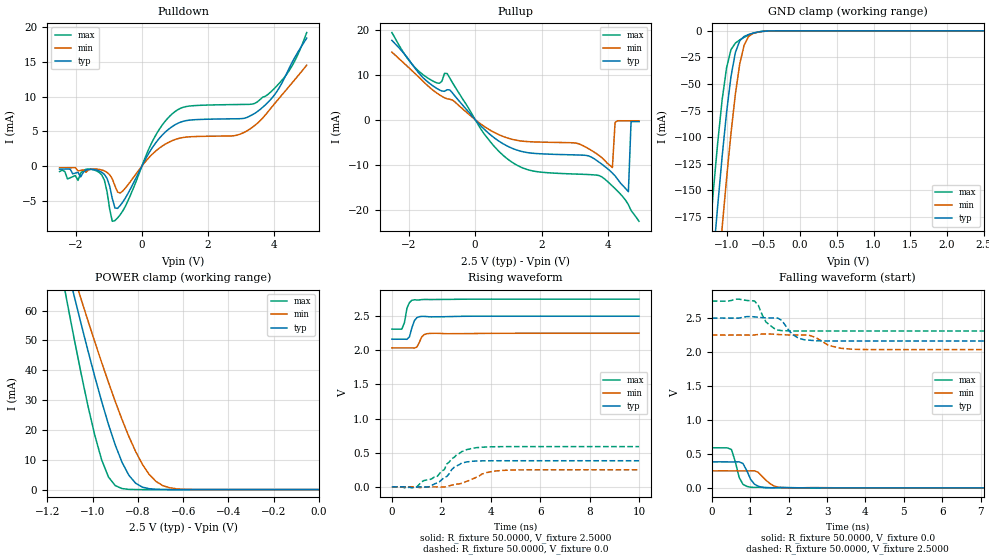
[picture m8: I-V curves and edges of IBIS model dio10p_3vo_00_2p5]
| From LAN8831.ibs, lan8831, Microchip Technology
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|   Model dio10p_3vo_00_2p5
[Model]  dio10p_3vo_00_2p5
Model_type I/O
Polarity   Non-Inverting
Enable   Active-Low
Vinl =   0.0V
Vinh =   2.5000V
Vmeas =  1.2500V
Vref =   0.0V
C_comp   5.0000pF   5.0000pF   5.0000pF
[Temperature Range]   42.0000   0.1250k   -40.0000
[Voltage Range]   2.5000V   2.2500V   2.7500V
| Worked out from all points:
|   slope of the pulldown table from 0 to 0.375 V, typ, clamps not added: 123 ohm
|   slope of the pullup table from 0 to 0.375 V, typ, clamps not added: 132 ohm
|   GND clamp passes 1 mA (typ) near -0.56 V on its own axis
|   POWER clamp passes 1 mA (typ) near -0.78 V on its own axis
|   rising waveform, R_fixture 50.0000, V_fixture 2.5000: 20-80 % time 173ps typ, 179ps min, 166ps max; typ from 2.16 V to 2.5 V
|   rising waveform, R_fixture 50.0000, V_fixture 0.0: 20-80 % time 689ps typ, 957ps min, 1.02ns max; typ from 0 V to 0.383 V
|   falling waveform, R_fixture 50.0000, V_fixture 0.0: 20-80 % time 218ps typ, 295ps min, 183ps max; typ from 0.382 V to 0 V
|   falling waveform, R_fixture 50.0000, V_fixture 2.5000: 20-80 % time 319ps typ, 466ps min, 280ps max; typ from 2.5 V to 2.16 V
[Pulldown]
|Voltage   I(typ)   I(min)   I(max)
-2.5V     -453uA     -258.4uA   -806.2uA
-1.94V    -914.9uA   -705.3uA   -2.077mA
-1.3V     -713.5uA   -488.5uA   -915.1uA
-1.06V    -1.782mA   -930.1uA   -3.678mA
-900mV    -4.679mA   -1.859mA   -7.967mA
-820mV    -6.044mA   -2.85mA    -7.862mA
-660mV    -5.699mA   -3.899mA   -7.019mA
300mV     2.532mA    1.635mA    3.377mA
860mV     5.483mA    3.524mA    7.251mA
3.42V     7.562mA    5.819mA    9.008mA
4.38V     13.21mA    10.97mA    13.13mA
5V        18.41mA    14.51mA    19.21mA
[Pullup]
|Voltage   I(typ)   I(min)   I(max)
-2.5V     17.62mA    15.01mA    19.36mA
-1.56V    9.291mA    8.499mA    9.954mA
-1.08V    6.629mA    5.56mA     8.081mA
-840mV    6.65mA     4.62mA     10.25mA
280mV     -2.192mA   -1.557mA   -3.264mA
1V        -6.011mA   -4.15mA    -8.915mA
3.08V     -7.862mA   -5.311mA   -12.12mA
4.12V     -11.88mA   -10.66mA   -14.77mA
4.2V      -12.51mA   -626.1uA   -15.35mA
4.6V      -16.02mA   -257uA     -18.9mA
4.68V     -446uA     -258.1uA   -20.2mA
4.92V     -452.6uA   -261.2uA   -22.61mA
[GND_clamp]
|Voltage   I(typ)   I(min)   I(max)
-2.5V     -1.409A    -1.474A    -1.354A
-1.24V    -262.8mA   -333.8mA   -200mA
-1.18V    -212.5mA   -282.9mA   -150.8mA
-1.12V    -164mA     -233.2mA   -104.8mA
-1.06V    -118.1mA   -184.9mA   -64.73mA
-1V       -76.75mA   -139mA     -34.79mA
-940mV    -43.03mA   -96.44mA   -17.73mA
-880mV    -20.4mA    -59.4mA    -11.51mA
-760mV    -5.247mA   -13.29mA   -6.079mA
-640mV    -2.178mA   -2.509mA   -2.394mA
-460mV    -236uA     -335.7uA   -131.7uA
2.5V      692.1pA    14.9nA     505.2pA
[POWER_clamp]
|Voltage   I(typ)   I(min)   I(max)
-2.5V     547.8mA    446.2mA    680.6mA
-1.14V    83.4mA     85.78mA    74.17mA
-1.11V    73.93mA    78.35mA    62.02mA
-1.08V    64.61mA    71mA       50.18mA
-1.05V    55.45mA    63.74mA    38.78mA
-990mV    37.89mA    49.56mA    18.25mA
-930mV    21.95mA    36.04mA    4.29mA
-840mV    4.852mA    17.89mA    83.67uA
-780mV    836.4uA    8.492mA    4.55uA
-720mV    103.3uA    2.757mA    247.2nA
-600mV    1.373uA    116.5uA    2.375nA
0V        692.2pA    3.805nA    678pA
[Ramp]
| variable   typ   min   max
dV/dt_r  0.2296/0.6719n   0.1502/0.9914n   0.3539/1.0295n
dV/dt_f  0.2025/0.3324n   0.1285/0.4464n   0.2642/0.2433n
R_load = 50.0000
[Rising Waveform]
R_fixture= 50.0000
V_fixture= 2.5000
V_fixture_min= 2.2500
V_fixture_max= 2.7500
|time   V(typ)   V(min)   V(max)
0s        2.163V     2.036V     2.31V
400ps     2.163V     2.036V     2.309V
510ps     2.163V     2.036V     2.409V
610ps     2.161V     2.036V     2.619V
710ps     2.197V     2.036V     2.699V
910ps     2.435V     2.034V     2.741V
1.01ns    2.478V     2.047V     2.737V
1.21ns    2.497V     2.2V       2.743V
1.52ns    2.491V     2.247V     2.744V
10ns      2.5V       2.25V      2.75V
[Rising Waveform]
R_fixture= 50.0000
V_fixture= 0.0
V_fixture_min= 0.0
V_fixture_max= 0.0
|time   V(typ)   V(min)   V(max)
0s        243.5uV    141.2uV    413.4uV
1.01ns    -2.875mV   -4.054mV   1.759mV
1.21ns    -153uV     -9.317mV   75.88mV
1.52ns    3.083mV    -497.8uV   105.5mV
1.82ns    56.63mV    -181.4uV   145.9mV
2.63ns    307.9mV    40.15mV    473.4mV
3.23ns    374.8mV    112.4mV    563.9mV
3.84ns    381.7mV    210mV      584.7mV
4.44ns    382.5mV    240.5mV    588.8mV
10ns      382.6mV    250.3mV    589.8mV
[Falling Waveform]
R_fixture= 50.0000
V_fixture= 0.0
V_fixture_min= 0.0
V_fixture_max= 0.0
|time   V(typ)   V(min)   V(max)
0s        382.2mV    250mV      589.2mV
510ps     382.2mV    250.2mV    564.2mV
710ps     383.1mV    250.1mV    154.3mV
810ps     358.3mV    250.1mV    52.08mV
1.01ns    123.5mV    250.4mV    8.854mV
1.21ns    22.97mV    227.1mV    9.328mV
1.31ns    8.44mV     167.7mV    6.667mV
1.62ns    2.122mV    26.79mV    1.073mV
1.82ns    6.689mV    4.414mV    239.8uV
10ns      450.2nV    425.3nV    311.8nV
[Falling Waveform]
R_fixture= 50.0000
V_fixture= 2.5000
V_fixture_min= 2.2500
V_fixture_max= 2.7500
|time   V(typ)   V(min)   V(max)
0s        2.5V       2.25V      2.749V
1.11ns    2.518V     2.251V     2.752V
1.21ns    2.512V     2.259V     2.687V
1.41ns    2.503V     2.267V     2.441V
1.82ns    2.466V     2.255V     2.315V
2.22ns    2.216V     2.251V     2.31V
2.73ns    2.166V     2.204V     2.31V
3.03ns    2.163V     2.1V       2.31V
3.64ns    2.163V     2.041V     2.31V
10ns      2.163V     2.036V     2.31V
